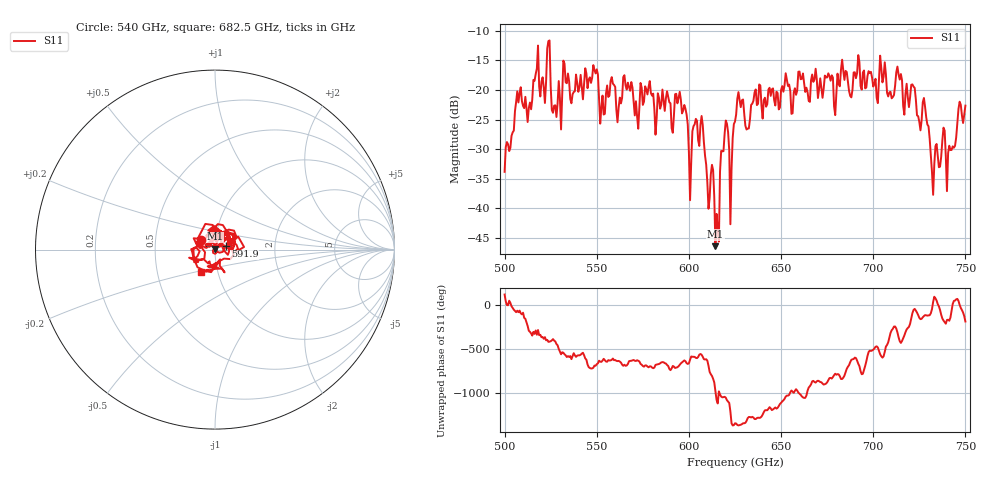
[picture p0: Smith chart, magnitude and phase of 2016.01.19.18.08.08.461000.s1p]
!Created with skrf (http://scikit-rf.org).
# GHz S RI R 50.0
!freq ReS11 ImS11
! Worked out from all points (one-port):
!   401 points, 500 GHz to 750 GHz, reference 50 ohm
!   lowest |S11| = -46.4 dB at 614.4 GHz (marker M1), VSWR 1.01, Z = 49.9 + j0.467 ohm
!   |S11| at or under -10 dB: start of sweep to end of sweep
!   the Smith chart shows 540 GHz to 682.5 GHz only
!   S11 on the Smith chart (normalised r, x): 540 GHz: 0.85, +0.09; 591.9 GHz: 1.12, +0.04; 682.5 GHz: 0.83, -0.21
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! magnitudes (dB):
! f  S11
! 500 GHz  -33.8
! 507.5 GHz  -22.1
! 513.1 GHz  -23.0
! 516.9 GHz  -17.3
! 520.6 GHz  -17.8
! 523.8 GHz  -11.7
! 526.9 GHz  -22.6
! 531.2 GHz  -20.7
! 540 GHz  -20.3
! 562.5 GHz  -21.3
! 565.6 GHz  -19.2
! 591.9 GHz  -24.2
! 593.8 GHz  -22.2
! 600.6 GHz  -38.6
! 607.5 GHz  -25.9
! 614.4 GHz  -46.4
! 615.6 GHz  -43.5
! 619.4 GHz  -27.4
! 623.1 GHz  -33.3
! 625 GHz  -25.3
! 656.2 GHz  -23.9
! 682.5 GHz  -16.6
! 687.5 GHz  -21.0
! 705 GHz  -18.7
! 718.8 GHz  -21.2
! 728.1 GHz  -22.8
! 732.5 GHz  -37.7
! 750 GHz  -22.6
